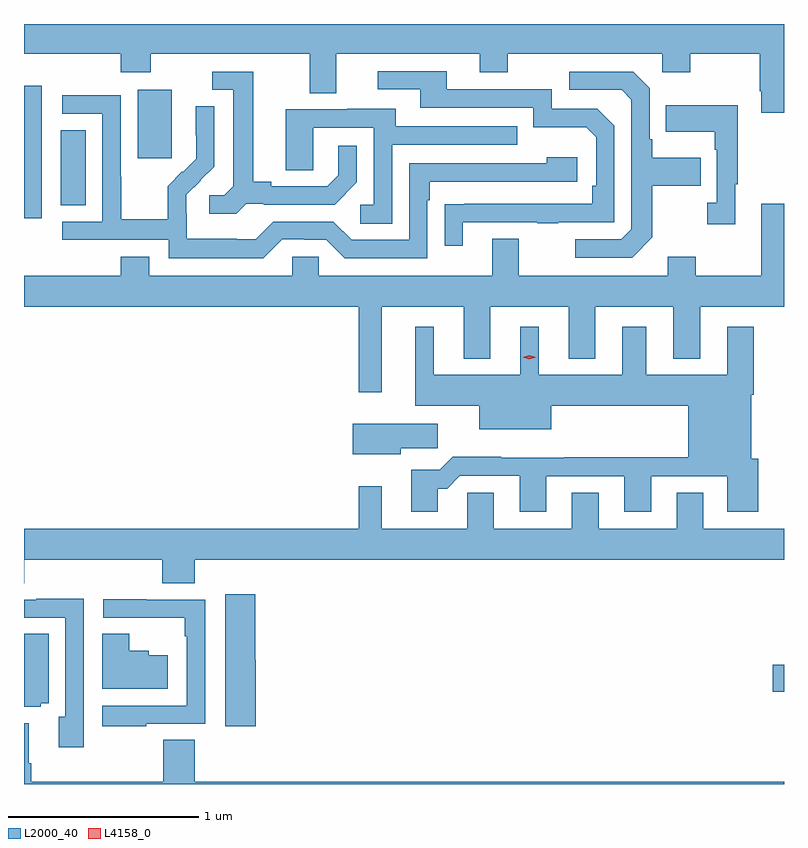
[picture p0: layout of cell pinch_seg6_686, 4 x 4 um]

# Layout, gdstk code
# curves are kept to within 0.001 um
import gdstk
lib = gdstk.Library(unit=1e-6, precision=1e-09)
def R(c, l, rs):  # rectangles x0, y0, x1, y1
    for r in rs: c.add(gdstk.rectangle(r[:2], r[2:], *l))
def P(c, l, *ps):  # polygons
    for p in ps: c.add(gdstk.Polygon(p, *l))
L2000_40 = (2000, 40)
L4158_0 = (4158, 0)

pinch_seg6_686 = lib.new_cell('pinch_seg6_686')
R(pinch_seg6_686, L2000_40, [(500.112,941.314,500.171,941.456), (496.171,943.806,496.264,944.503), (496.364,943.873,496.495,944.27), (496.769,944.121,496.948,944.482)])
P(pinch_seg6_686, L2000_40, [(496.171,944.672),(496.679,944.672),(496.679,944.573),(496.839,944.573),(496.839,944.672),(497.675,944.672),(497.675,944.464),(497.815,944.464),(497.815,944.672),(498.569,944.672),(498.569,944.573),(498.717,944.573),(498.717,944.672),(499.53,944.672),(499.53,944.573),(499.677,944.573),(499.677,944.672),(500.044,944.672),(500.044,944.473),(500.051,944.473),(500.051,944.361),(500.171,944.361),(500.171,944.828),(496.171,944.828)],
  [(498.481,943.785),(498.871,943.785),(498.871,943.78),(498.983,943.78),(498.983,943.785),(499.278,943.785),(499.278,944.292),(499.188,944.382),(498.948,944.382),(498.948,944.484),(498.397,944.484),(498.397,944.58),(498.033,944.58),(498.033,944.484),(498.257,944.484),(498.257,944.388),(498.852,944.388),(498.852,944.285),(499.129,944.285),(499.182,944.232),(499.182,943.978),(499.162,943.978),(499.162,943.881),(498.385,943.88),(498.385,943.662),(498.481,943.662)],
  [(499.477,943.705),(499.477,943.978),(499.733,943.978),(499.733,944.125),(499.477,944.125),(499.477,944.221),(499.464,944.221),(499.464,944.49),(499.377,944.577),(499.041,944.577),(499.041,944.481),(499.317,944.481),(499.368,944.43),(499.368,943.749),(499.314,943.695),(499.071,943.695),(499.071,943.599),(499.371,943.599)],
  [(497.34,943.881),(497.434,943.881),(497.434,943.878),(497.806,943.878),(497.922,943.994),(497.922,944.188),(497.825,944.188),(497.825,944.031),(497.768,943.974),(497.473,943.974),(497.473,943.997),(497.377,943.997),(497.377,944.577),(497.163,944.577),(497.163,944.481),(497.273,944.481),(497.273,943.973),(497.226,943.926),(497.145,943.926),(497.145,943.829),(497.288,943.829)],
  [(497.529,943.695),(497.645,943.695),(497.645,943.692),(497.763,943.692),(497.859,943.596),(498.294,943.596),(498.294,943.901),(498.307,943.901),(498.307,943.998),(499.084,943.998),(499.084,944.128),(498.923,944.128),(498.923,944.094),(498.198,944.094),(498.198,943.692),(497.895,943.692),(497.799,943.788),(497.484,943.788),(497.391,943.695),(497.291,943.695),(497.291,943.699),(497.028,943.699),(497.028,943.833),(497.026,943.833),(497.026,943.93),(497.172,944.078),(497.172,944.396),(497.076,944.396),(497.076,944.242),(497.078,944.242),(497.078,944.12),(497.007,944.049),(497.004,944.052),(496.927,943.975),(496.927,943.801),(496.683,943.801),(496.683,944.024),(496.68,944.024),(496.68,944.454),(496.371,944.454),(496.371,944.355),(496.584,944.355),(496.584,943.788),(496.371,943.788),(496.371,943.692),(496.932,943.692),(496.932,943.595),(497.429,943.595)],
  [(499.915,943.985),(499.927,943.985),(499.927,944.401),(499.549,944.401),(499.549,944.261),(499.806,944.261),(499.806,944.165),(499.818,944.165),(499.818,943.886),(499.767,943.886),(499.767,943.773),(499.915,943.773)],
  [(498.108,944.193),(498.767,944.193),(498.767,944.289),(498.127,944.289),(498.127,944.383),(497.873,944.383),(497.873,944.379),(497.549,944.379),(497.549,944.059),(497.694,944.059),(497.694,944.283),(498.012,944.283),(498.012,943.878),(497.94,943.878),(497.94,943.777),(498.108,943.777)],
  [(498.055,943.34),(498.485,943.34),(498.485,943.067),(498.625,943.067),(498.625,943.34),(499.037,943.34),(499.037,943.067),(499.177,943.067),(499.177,943.34),(499.589,943.34),(499.589,943.067),(499.729,943.067),(499.729,943.34),(500.171,943.34),(500.171,943.882),(500.051,943.882),(500.051,943.504),(499.707,943.504),(499.707,943.603),(499.559,943.603),(499.559,943.504),(498.775,943.504),(498.775,943.699),(498.635,943.699),(498.635,943.504),(497.721,943.504),(497.721,943.602),(497.583,943.602),(497.583,943.504),(496.831,943.504),(496.831,943.603),(496.679,943.603),(496.679,943.504),(496.171,943.504),(496.171,943.34),(497.934,943.34),(497.934,942.891),(498.055,942.891)],
  [(498.349,942.383),(498.398,942.383),(498.465,942.45),(498.779,942.45),(498.779,942.261),(498.919,942.261),(498.919,942.447),(499.331,942.447),(499.331,942.261),(499.471,942.261),(499.471,942.447),(499.871,942.447),(499.871,942.261),(500.036,942.261),(500.036,942.54),(499.999,942.54),(499.999,942.878),(500.012,942.878),(500.012,943.234),(499.871,943.234),(499.871,942.982),(499.447,942.982),(499.447,943.234),(499.319,943.234),(499.319,942.982),(498.88,942.982),(498.88,943.234),(498.782,943.234),(498.782,942.982),(498.328,942.982),(498.328,943.234),(498.23,943.234),(498.23,942.818),(498.566,942.818),(498.566,942.695),(498.946,942.695),(498.946,942.818),(499.667,942.818),(499.667,942.548),(499.015,942.548),(499.015,942.544),(498.683,942.544),(498.683,942.551),(498.428,942.551),(498.358,942.481),(498.209,942.481),(498.209,942.261),(498.349,942.261)],
  [(498.154,942.595),(498.349,942.595),(498.349,942.724),(497.9,942.724),(497.9,942.563),(498.154,942.563)],
  [(496.172,942.008),(496.898,942.008),(496.898,941.884),(497.069,941.884),(497.069,942.008),(500.171,942.008),(500.171,942.172),(499.747,942.172),(499.747,942.362),(499.607,942.362),(499.607,942.172),(499.195,942.172),(499.195,942.362),(499.055,942.362),(499.055,942.172),(498.643,942.172),(498.643,942.362),(498.504,942.362),(498.504,942.172),(498.055,942.172),(498.055,942.394),(497.934,942.394),(497.934,942.172),(496.171,942.172),(496.171,941.884),(496.172,941.884)],
  [(497.392,941.481),(497.387,941.481),(497.387,941.827),(497.231,941.827),(497.231,941.133),(497.392,941.133)],
  [(496.485,941.803),(496.235,941.803),(496.235,941.799),(496.171,941.799),(496.171,941.703),(496.389,941.703),(496.389,941.183),(496.355,941.183),(496.355,941.022),(496.485,941.022)],
  [(496.814,941.145),(497.124,941.145),(497.124,941.799),(496.814,941.799),(496.814,941.801),(496.587,941.801),(496.587,941.703),(496.827,941.703),(496.827,941.702),(497.016,941.702),(497.016,941.606),(497.028,941.606),(497.028,941.241),(496.584,941.241),(496.584,941.133),(496.814,941.133)],
  [(496.26,941.252),(496.3,941.252),(496.3,941.618),(496.171,941.618),(496.171,941.234),(496.26,941.234)],
  [(496.927,941.506),(496.827,941.506),(496.827,941.53),(496.725,941.53),(496.725,941.618),(496.583,941.618),(496.583,941.33),(496.927,941.33)],
  [(500.171,940.84),(497.069,940.84),(497.069,941.06),(496.903,941.06),(496.903,940.84),(496.208,940.84),(496.208,940.936),(496.195,940.936),(496.195,941.149),(496.171,941.149),(496.171,940.828),(500.171,940.828)])
P(pinch_seg6_686, L4158_0, [(498.831,943.064),(498.795,943.074),(498.795,943.074),(498.795,943.074),(498.831,943.084),(498.866,943.074),(498.866,943.074),(498.866,943.074)])

lib.write_gds('pinch_seg6_686.gds')
